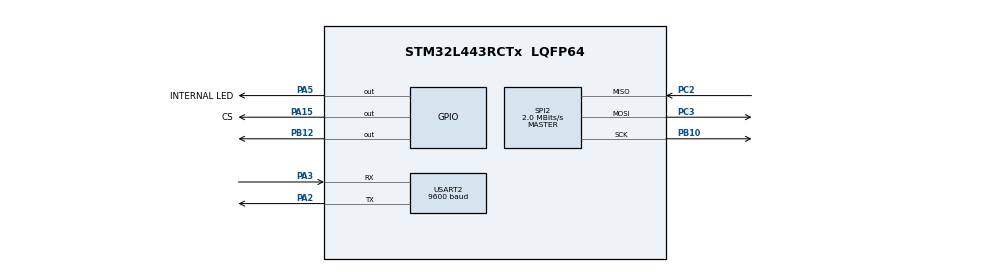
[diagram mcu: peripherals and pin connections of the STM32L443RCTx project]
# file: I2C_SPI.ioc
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Mcu.Family=STM32L4
Mcu.Name=STM32L443RCTx
Mcu.Package=LQFP64
NVIC.PriorityGroup=NVIC_PRIORITYGROUP_4
NVIC.USART2_IRQn=true\:0\:0\:false\:false\:true\:true\:true\:true
PA15\ (JTDI).GPIO_Label=CS
PA15\ (JTDI).Signal=GPIO_Output
PA2.Mode=Asynchronous
PA2.Signal=USART2_TX
PA3.Mode=Asynchronous
PA3.Signal=USART2_RX
PA5.GPIO_Label=INTERNAL LED
PA5.Signal=GPIO_Output
PB10.Mode=Full_Duplex_Master
PB10.Signal=SPI2_SCK
PB12.Signal=GPIO_Output
PC2.Mode=Full_Duplex_Master
PC2.Signal=SPI2_MISO
PC3.Mode=Full_Duplex_Master
PC3.Signal=SPI2_MOSI
ProjectManager.HeapSize=0x200
ProjectManager.StackSize=0x400
ProjectManager.TargetToolchain=STM32CubeIDE
RCC.HSE_VALUE=8000000
RCC.HSI48_VALUE=48000000
RCC.HSI_VALUE=16000000
RCC.LSE_VALUE=32768
RCC.MSI_VALUE=4000000
RCC.VCOOutputFreq_Value=32000000
SPI2.CalculateBaudRate=2.0 MBits/s
SPI2.DataSize=SPI_DATASIZE_8BIT
SPI2.Direction=SPI_DIRECTION_2LINES
SPI2.Mode=SPI_MODE_MASTER
SPI2.VirtualType=VM_MASTER
USART2.BaudRate=9600
USART2.VirtualMode-Asynchronous=VM_ASYNC
board=custom

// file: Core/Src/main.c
/* USER CODE BEGIN Header */
/**
 ******************************************************************************
 * @file           : main.c
 * @brief          : Main program body
 ******************************************************************************
 * @attention
 *
 * Copyright (c) 2022 STMicroelectronics.
 * All rights reserved.
 *
 * This software is licensed under terms that can be found in the LICENSE file
 * in the root directory of this software component.
 * If no LICENSE file comes with this software, it is provided AS-IS.
 *
 ******************************************************************************
 */
/* USER CODE END Header */
#include "main.h"

/* USER CODE BEGIN Includes */
#include "stdio.h"
/* USER CODE END Includes */

SPI_HandleTypeDef hspi2;

UART_HandleTypeDef huart2;

/* USER CODE BEGIN PV */
uint8_t R_INTERNAL_SIZE_WHO_I_AM_RESPONSE = 17;
uint8_t R_INTERNAL_STATUS_RESPONSE = 6;
uint8_t R_INTERNAL_INTERNAL_STATUS_SENSOR_RESPONSE = 6;
uint8_t RW_INTERNAL_CONTROL_RESPONSE = 7;
uint8_t RW_INTERNAL_ONE_HERTZ_UPDATE_RESPONSE = 6;
uint8_t RW_INTERNAL_TEMP_CALIBRATION_RESPONSE = 7;
uint8_t RW_INTERNAL_TIMESTAMP_RESPONSE = 9;
uint8_t RW_INTERNAL_INTERNAL_TEMP_RESPONSE = 7;
uint8_t RW_INTERNAL_HSITRIM_RESPONSE = 6;
uint8_t RW_TEMP_CALIBRATION_RESPONSE = 9;
uint8_t RW_PRESSURE_CALIBRATION_RESPONSE = 9;
uint8_t RW_TEMP_DATA_RESPONSE = 7;
uint8_t RW_PRESSURE_DATA_RESPONSE = 9;

uint8_t R_INTERNAL_SIZE_WHO_I_AM = 0x0;
uint8_t R_INTERNAL_STATUS = 0xc;
uint8_t R_INTERNAL_INTERNAL_STATUS_SENSOR = 0xD;
uint8_t RW_INTERNAL_CONTROL = 0xE;
uint8_t RW_INTERNAL_ONE_HERTZ_UPDATE = 0x10;
uint8_t RW_INTERNAL_TEMP_CALIBRATION= 0x11;
uint8_t RW_INTERNAL_TIMESTAMP= 0x13;
uint8_t RW_INTERNAL_INTERNAL_TEMP = 0x17;
uint8_t RW_INTERNAL_HSITRIM = 0x19;
uint8_t TEMP_CALIBRATION = 0x0;
uint8_t PRESSUR_CALIBRATION = 0x0004;
uint8_t TEMP_DATA = 0x0008;
uint8_t PRESSURE_DATA = 0x000A;

uint16_t buffRX_SPI[50] = {0xAF};

const uint8_t SYNCH_RW_ID = 0xA0;
const uint8_t REGISTER_ID_MSB = 0x0;
const uint8_t REGISTER_ID_LSB = 0x0;
const uint8_t LENGTH_MSB = 0x0;
const uint8_t LENGTH_LSB = 0xc;

uint8_t query[5] = {SYNCH_RW_ID,REGISTER_ID_MSB,REGISTER_ID_LSB,LENGTH_MSB, LENGTH_LSB};

/* USER CODE END PV */

void SystemClock_Config(void);
static void MX_GPIO_Init(void);
static void MX_USART2_UART_Init(void);
static void MX_SPI2_Init(void);

/* USER CODE BEGIN 0 */
// use printf for UART transmission

#ifdef __GNUC__
#define PUTCHAR_PROTOTYPE int __io_putchar(int ch)
#else
#define PUTCHAR_PROTOTYPE int fputc(int ch, FILE *f)
#endif

PUTCHAR_PROTOTYPE
{
	HAL_UART_Transmit(&huart2, (uint8_t *)&ch, 1, HAL_MAX_DELAY);
	return ch;
}
/* USER CODE END 0 */

int main(void)
{

	/* MCU Configuration--------------------------------------------------------*/

	/* Reset of all peripherals, Initializes the Flash interface and the Systick. */
	HAL_Init();

	/* Configure the system clock */
	SystemClock_Config();

	/* Initialize all configured peripherals */
	MX_GPIO_Init();
	MX_USART2_UART_Init();
	MX_SPI2_Init();
	/* USER CODE BEGIN 2 */
	HAL_GPIO_WritePin(CS_GPIO_Port,CS_Pin,GPIO_PIN_SET); // set SS
	HAL_Delay(1000);

	/* USER CODE END 2 */

	/* Infinite loop */
	/* USER CODE BEGIN WHILE */
	while (1){
		HAL_GPIO_WritePin(CS_GPIO_Port,CS_Pin,GPIO_PIN_RESET); // SS at zero to start communication sequence
		printf("start of communication\r\n");
		HAL_SPI_Transmit(&hspi2, query, sizeof(query)/sizeof(query[0]),1000); // send query
		// print query
		printf("<< transmission buffer : \r\n");
		for(int i = 0; i<sizeof(query); i++){
			printf("0x%X\r\n", query[i]);
		}
		// 200 us delay
		HAL_GPIO_WritePin(CS_GPIO_Port,CS_Pin,GPIO_PIN_SET);
		HAL_Delay(1);
		HAL_GPIO_WritePin(CS_GPIO_Port,CS_Pin,GPIO_PIN_RESET);
		// response of MOSI
		HAL_SPI_Receive(&hspi2, (uint8_t*)buffRX_SPI,R_INTERNAL_SIZE_WHO_I_AM_RESPONSE,1000);
		HAL_GPIO_WritePin(CS_GPIO_Port,CS_Pin,GPIO_PIN_SET);
		HAL_Delay(200);		/* USER CODE END WHILE */

	}
}

void SystemClock_Config(void)
{
	RCC_OscInitTypeDef RCC_OscInitStruct = {0};
	RCC_ClkInitTypeDef RCC_ClkInitStruct = {0};

	/** Configure the main internal regulator output voltage
	 */
	if (HAL_PWREx_ControlVoltageScaling(PWR_REGULATOR_VOLTAGE_SCALE1) != HAL_OK)
	{
		Error_Handler();
	}

	/** Initializes the RCC Oscillators according to the specified parameters
	 * in the RCC_OscInitTypeDef structure.
	 */
	RCC_OscInitStruct.OscillatorType = RCC_OSCILLATORTYPE_MSI;
	RCC_OscInitStruct.MSIState = RCC_MSI_ON;
	RCC_OscInitStruct.MSICalibrationValue = 0;
	RCC_OscInitStruct.MSIClockRange = RCC_MSIRANGE_6;
	RCC_OscInitStruct.PLL.PLLState = RCC_PLL_NONE;
	if (HAL_RCC_OscConfig(&RCC_OscInitStruct) != HAL_OK)
	{
		Error_Handler();
	}

	/** Initializes the CPU, AHB and APB buses clocks
	 */
	RCC_ClkInitStruct.ClockType = RCC_CLOCKTYPE_HCLK|RCC_CLOCKTYPE_SYSCLK
			|RCC_CLOCKTYPE_PCLK1|RCC_CLOCKTYPE_PCLK2;
	RCC_ClkInitStruct.SYSCLKSource = RCC_SYSCLKSOURCE_MSI;
	RCC_ClkInitStruct.AHBCLKDivider = RCC_SYSCLK_DIV1;
	RCC_ClkInitStruct.APB1CLKDivider = RCC_HCLK_DIV1;
	RCC_ClkInitStruct.APB2CLKDivider = RCC_HCLK_DIV1;

	if (HAL_RCC_ClockConfig(&RCC_ClkInitStruct, FLASH_LATENCY_0) != HAL_OK)
	{
		Error_Handler();
	}
}

static void MX_SPI2_Init(void)
{

	/* SPI2 parameter configuration*/
	hspi2.Instance = SPI2;
	hspi2.Init.Mode = SPI_MODE_MASTER;
	hspi2.Init.Direction = SPI_DIRECTION_2LINES;
	hspi2.Init.DataSize = SPI_DATASIZE_8BIT;
	hspi2.Init.CLKPolarity = SPI_POLARITY_LOW;
	hspi2.Init.CLKPhase = SPI_PHASE_1EDGE;
	hspi2.Init.NSS = SPI_NSS_SOFT;
	hspi2.Init.BaudRatePrescaler = SPI_BAUDRATEPRESCALER_2;
	hspi2.Init.FirstBit = SPI_FIRSTBIT_MSB;
	hspi2.Init.TIMode = SPI_TIMODE_DISABLE;
	hspi2.Init.CRCCalculation = SPI_CRCCALCULATION_DISABLE;
	hspi2.Init.CRCPolynomial = 7;
	hspi2.Init.CRCLength = SPI_CRC_LENGTH_DATASIZE;
	hspi2.Init.NSSPMode = SPI_NSS_PULSE_ENABLE;
	if (HAL_SPI_Init(&hspi2) != HAL_OK)
	{
		Error_Handler();
	}

}

static void MX_USART2_UART_Init(void)
{

	huart2.Instance = USART2;
	huart2.Init.BaudRate = 9600;
	huart2.Init.WordLength = UART_WORDLENGTH_8B;
	huart2.Init.StopBits = UART_STOPBITS_1;
	huart2.Init.Parity = UART_PARITY_NONE;
	huart2.Init.Mode = UART_MODE_TX_RX;
	huart2.Init.HwFlowCtl = UART_HWCONTROL_NONE;
	huart2.Init.OverSampling = UART_OVERSAMPLING_16;
	huart2.Init.OneBitSampling = UART_ONE_BIT_SAMPLE_DISABLE;
	huart2.AdvancedInit.AdvFeatureInit = UART_ADVFEATURE_NO_INIT;
	if (HAL_UART_Init(&huart2) != HAL_OK)
	{
		Error_Handler();
	}
	/* USER CODE BEGIN USART2_Init 2 */
	NVIC_EnableIRQ(USART2_IRQn);
	/* USER CODE END USART2_Init 2 */

}

static void MX_GPIO_Init(void)
{
	GPIO_InitTypeDef GPIO_InitStruct = {0};

	/* GPIO Ports Clock Enable */
	__HAL_RCC_GPIOC_CLK_ENABLE();
	__HAL_RCC_GPIOA_CLK_ENABLE();
	__HAL_RCC_GPIOB_CLK_ENABLE();

	/*Configure GPIO pin Output Level */
	HAL_GPIO_WritePin(GPIOA, INTERNAL_LED_Pin|CS_Pin, GPIO_PIN_RESET);

	/*Configure GPIO pin Output Level */
	HAL_GPIO_WritePin(GPIOB, GPIO_PIN_12, GPIO_PIN_RESET);

	/*Configure GPIO pins : INTERNAL_LED_Pin CS_Pin */
	GPIO_InitStruct.Pin = INTERNAL_LED_Pin|CS_Pin;
	GPIO_InitStruct.Mode = GPIO_MODE_OUTPUT_PP;
	GPIO_InitStruct.Pull = GPIO_NOPULL;
	GPIO_InitStruct.Speed = GPIO_SPEED_FREQ_LOW;
	HAL_GPIO_Init(GPIOA, &GPIO_InitStruct);

	/*Configure GPIO pin : PB12 */
	GPIO_InitStruct.Pin = GPIO_PIN_12;
	GPIO_InitStruct.Mode = GPIO_MODE_OUTPUT_PP;
	GPIO_InitStruct.Pull = GPIO_NOPULL;
	GPIO_InitStruct.Speed = GPIO_SPEED_FREQ_LOW;
	HAL_GPIO_Init(GPIOB, &GPIO_InitStruct);

}

/* USER CODE BEGIN 4 */
//// IT functions
//void HAL_SPI_TxCpltCallback(SPI_HandleTypeDef *hspi){
//	if(hspi->Instance == SPI1){
//		printf("transmission SPI completed\r\n");
//		HAL_GPIO_TogglePin(GPIOA,GPIO_PIN_5);
//	}
//}
//
//void HAL_SPI_RxCpltCallback(SPI_HandleTypeDef *hspi){
//	if(hspi->Instance == SPI1){
//		printf("reception SPI completed\r\n");
//	}
//}
/* USER CODE END 4 */

void Error_Handler(void)
{
	__disable_irq();
	while (1)
	{
	}
}
